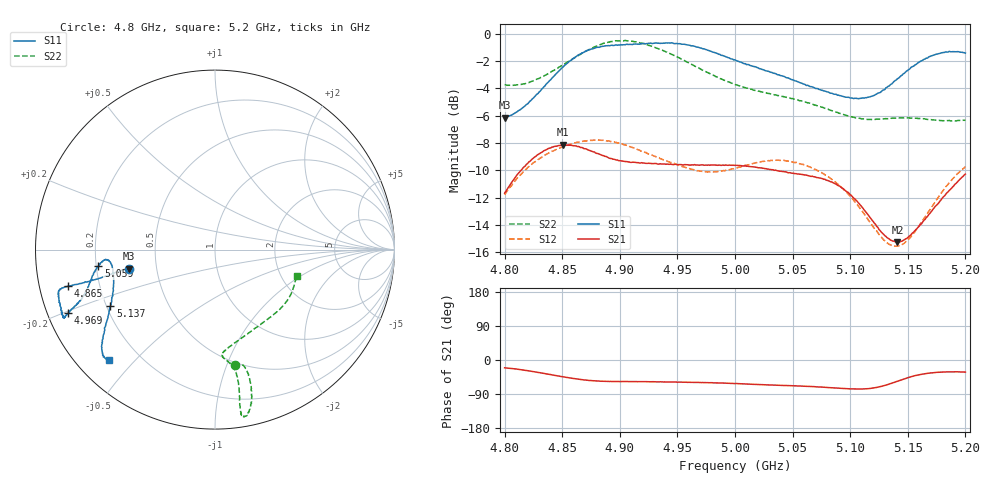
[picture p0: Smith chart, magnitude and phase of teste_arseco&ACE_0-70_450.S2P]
! Network Analyzer HP8722D
! Hewlett-Packard
! Data name: Linha & Wilkinson
! Saver's name: Rodrigo Anjos
! Comments: Teste da utilização de aquisição
! continua pelo VNA HP8722D
! Time and date: 8/5/2025 16:30
!  Frequency  S11  S21  S12  S22
# HZ  S  MA R 50
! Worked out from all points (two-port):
!   401 points, 4.8 GHz to 5.2 GHz, reference 50 ohm
!   highest |S21| = -8.12 dB at 4.851 GHz (marker M1); lowest = -15.3 dB at 5.141 GHz (marker M2)
!   |S21| within 3 dB of the highest: 4.804 GHz to 5.09 GHz (285.5 MHz wide, 5.77 % of centre); 5.190039 GHz to end of sweep
!   lowest |S11| = -6.1 dB at 4.8 GHz (marker M3), VSWR 2.94, Z = 17.2 - j4.84 ohm
!   |S11| at or under -10 dB: nowhere
!   |S22| runs from -6.4 to -0.5 dB; largest |S21 - S12| = 0.62
!   S11 on the Smith chart (normalised r, x): 4.8 GHz: 0.34, -0.10; 4.865 GHz: 0.09, -0.12; 4.969 GHz: 0.06, -0.21; 5.059 GHz: 0.21, -0.07; 5.137 GHz: 0.22, -0.24; 5.2 GHz: 0.10, -0.42
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4.8e9  0.4928 -167.5  0.2609 -20.6  0.2577 -141.8  0.6516 -80.3
4.826e9  0.5886 -166.8  0.3538 -31.1  0.3391 -145.9  0.6763 -75.8
4.851e9  0.7582 -165.9  0.3926 -44.6  0.3865 -150.4  0.7734 -75.1
4.865e9  0.8415 -166.2  0.3857 -50.9  0.4018 -152.6  0.8379 -75.9
4.867e9  0.851 -165.9  0.3837 -51.9  0.4035 -152.9  0.848 -76.1
4.898e9  0.9085 -163.2  0.3452 -56.7  0.3983 -157.0  0.9436 -79.5
4.913e9  0.9172 -160.1  0.3385 -57.0  0.381 -157.5  0.9356 -80.7
4.934e9  0.9248 -156.7  0.3333 -57.8  0.352 -155.9  0.8801 -80.9
4.969e9  0.8906 -156.6  0.3302 -59.2  0.3147 -147.5  0.749 -80.0
5e9  0.804 -159.3  0.3298 -62.3  0.3223 -137.6  0.6526 -81.6
5.035e9  0.7157 -165.8  0.317 -66.5  0.3448 -135.0  0.5977 -86.0
5.059e9  0.6557 -172.0  0.3048 -69.1  0.3328 -136.8  0.5649 -84.5
5.067e9  0.64 -173.4  0.3012 -70.1  0.3234 -137.7  0.5529 -82.6
5.086e9  0.6012 -174.6  0.2838 -73.7  0.2889 -139.3  0.5203 -75.0
5.099e9  0.5854 -172.2  0.2606 -76.1  0.2565 -139.5  0.4996 -67.3
5.116e9  0.5866 -164.4  0.2158 -75.6  0.2077 -135.2  0.4858 -55.0
5.134e9  0.645 -153.2  0.1771 -63.5  0.1693 -119.0  0.4902 -42.8
5.137e9  0.6622 -151.6  0.1743 -60.4  0.1677 -115.0  0.4915 -41.0
5.141e9  0.6851 -149.5  0.1728 -55.8  0.167 -109.7  0.4925 -38.8
5.152e9  0.7466 -144.9  0.1824 -44.9  0.1792 -95.9  0.4915 -33.1
5.173e9  0.8383 -138.8  0.2308 -33.1  0.2403 -80.7  0.4839 -24.2
5.2e9  0.8506 -133.7  0.3065 -31.9  0.3263 -77.6  0.4816 -17.7
